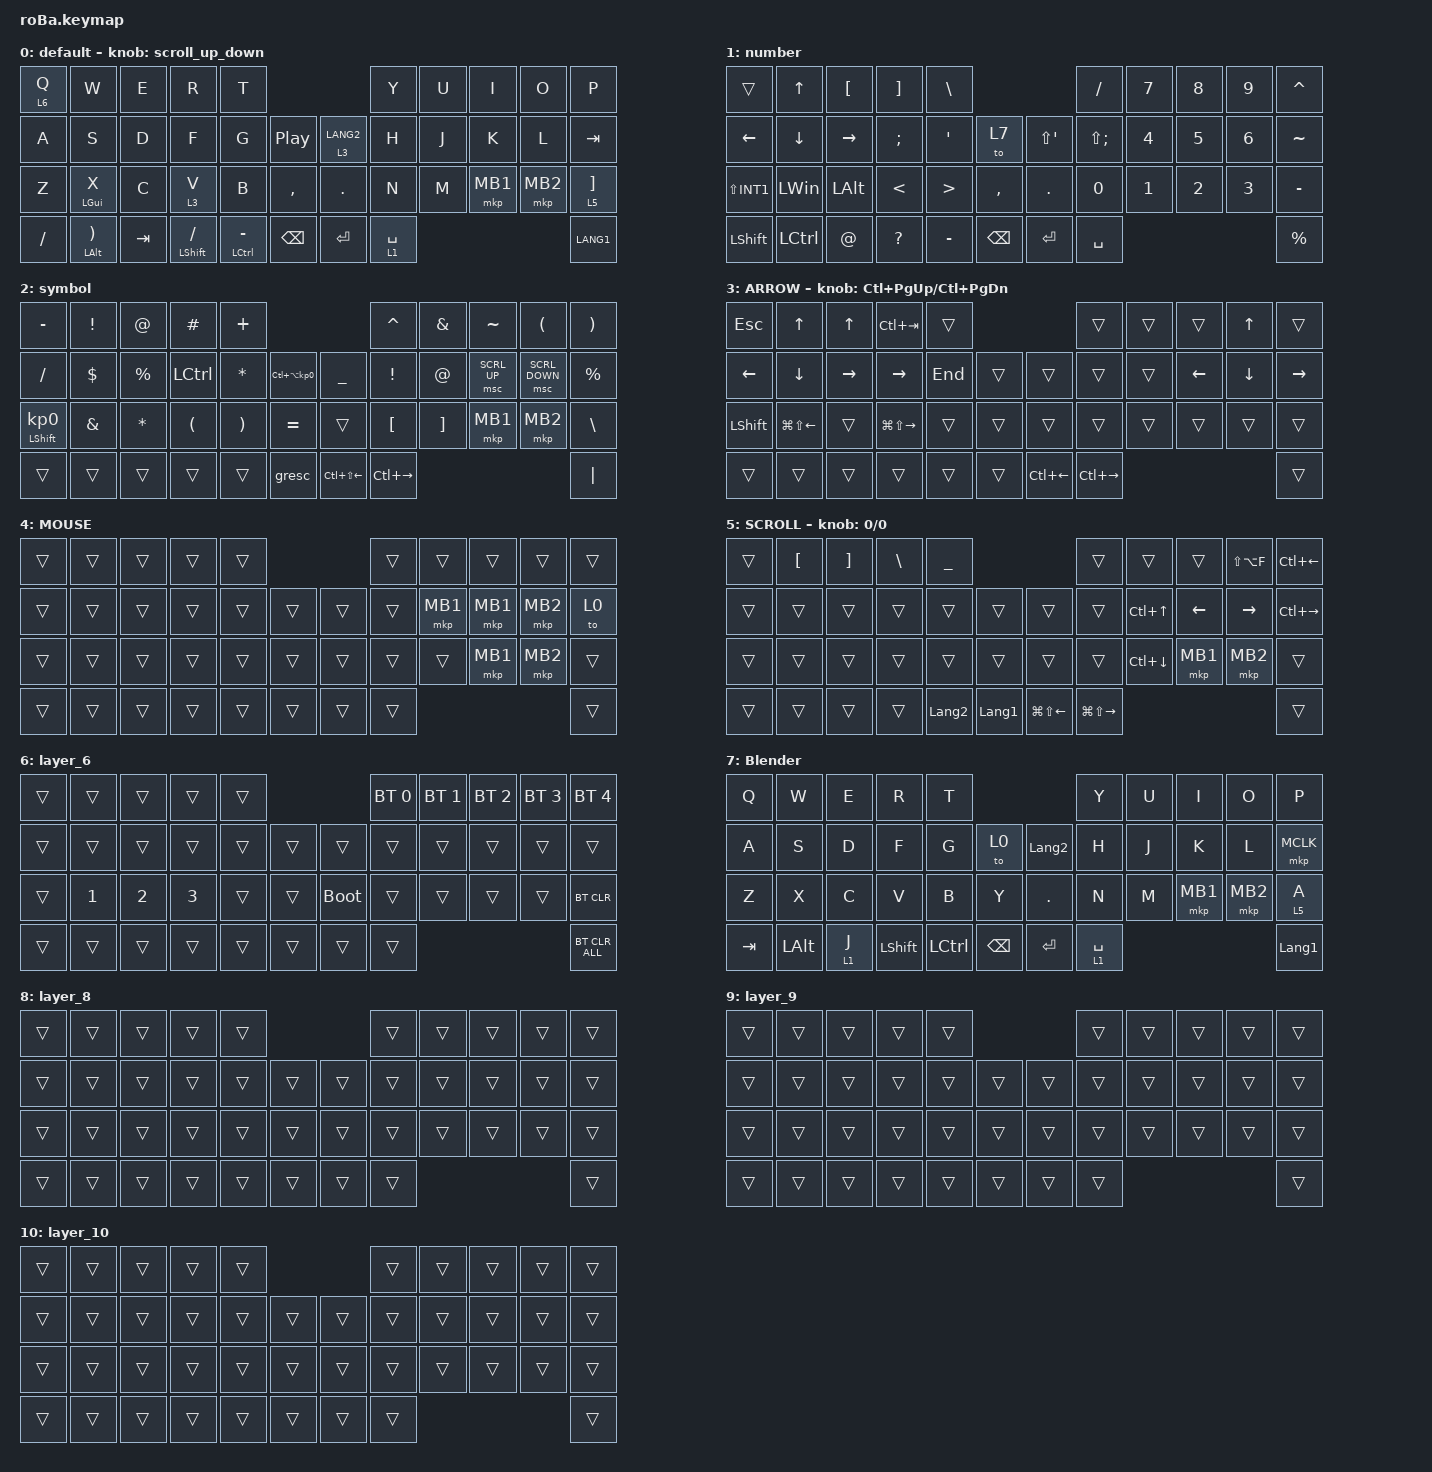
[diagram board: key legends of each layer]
#include <behaviors.dtsi>
#include <dt-bindings/zmk/bt.h>
#include <dt-bindings/zmk/keys.h>
#include <dt-bindings/zmk/pointing.h>

#undef ZMK_POINTING_DEFAULT_SCRL_VAL    // 追加
#define ZMK_POINTING_DEFAULT_SCRL_VAL 70

&mt {
    flavor = "balanced";
    quick-tap-ms = <0>;
};

&trackball {
    // automouse-layer = <4>;

    scroll-layers = <5>;

    arrows {
        layers = <3>;
        bindings =
            <&kp RIGHT_ARROW>,
            <&kp LEFT_ARROW>,
            <&kp UP_ARROW>,
            <&kp DOWN_ARROW>;

        tick = <10>;
        wait-ms = <5>;
        tap-ms = <5>;
    };
};

/ {
    combos {
        compatible = "zmk,combos";

        tab {
            bindings = <&kp TAB>;
            key-positions = <11 12>;
        };

        shift_tab {
            bindings = <&kp LS(TAB)>;
            key-positions = <12 13>;
        };

        muhennkann {
            bindings = <&to_layer_0 INT_MUHENKAN>;
            key-positions = <11 10>;
        };

        double_quotation {
            bindings = <&kp DOUBLE_QUOTES>;
            key-positions = <20 21>;
        };

        eq {
            bindings = <&kp EQUAL>;
            key-positions = <24 25>;
        };
    };

    macros {
        to_layer_0: to_layer_0 {
            compatible = "zmk,behavior-macro-one-param";
            #binding-cells = <1>;
            bindings = <&to 0 &macro_param_1to1 &kp MACRO_PLACEHOLDER>;
            label = "TO_LAYER_0";
        };
    };

    behaviors {
        lt_to_layer_0: lt_to_layer_0 {
            compatible = "zmk,behavior-hold-tap";
            label = "LAYER_TAP_TO_0";
            bindings = <&mo>, <&to_layer_0>;

            #binding-cells = <2>;
            tapping-term-ms = <200>;
        };

        scroll_up_down: behavior_sensor_rotate_mouse_wheel_up_down {
            compatible = "zmk,behavior-sensor-rotate";
            #sensor-binding-cells = <0>;
            bindings = <&msc SCRL_DOWN>, <&msc SCRL_UP>;

            // 追加: スクロールのタップ時間を設定 (20ms)

            tap-ms = <20>;
        };
    };

    keymap {
        compatible = "zmk,keymap";

        default {
            bindings = <
&lt_to_layer_0 6 Q  &kp W                           &kp E    &kp R                 &kp T                                                                 &kp Y                   &kp U  &kp I     &kp O     &kp P
&kp A               &kp S                           &kp D    &kp F                 &kp G                   &kp C_PLAY_PAUSE      &lt_to_layer_0 3 LANG2  &kp H                   &kp J  &kp K     &kp L     &kp TAB
&kp Z               &mt LGUI X                      &kp C    &lt_to_layer_0 3 V    &kp B                   &kp COMMA             &kp PERIOD              &kp N                   &kp M  &mkp MB1  &mkp MB2  &lt_to_layer_0 5 RIGHT_BRACKET
&kp SLASH           &mt LEFT_ALT RIGHT_PARENTHESIS  &kp TAB  &mt LEFT_SHIFT SLASH  &mt LEFT_CONTROL MINUS  &kp BSPC              &kp ENTER               &lt_to_layer_0 1 SPACE                             &kp LANG1
            >;

            sensor-bindings = <&scroll_up_down>;
        };

        number {
            bindings = <
&trans          &kp UP_ARROW    &kp LEFT_BRACKET  &kp RIGHT_BRACKET  &kp BACKSLASH                                              &kp SLASH          &kp N7  &kp N8  &kp N9  &kp CARET
&kp LEFT_ARROW  &kp DOWN_ARROW  &kp RIGHT_ARROW   &kp SEMICOLON      &kp SQT           &to 7              &kp LS(SINGLE_QUOTE)  &kp LS(SEMICOLON)  &kp N4  &kp N5  &kp N6  &kp TILDE
&kp LS(INT1)    &kp LEFT_WIN    &kp LEFT_ALT      &kp LESS_THAN      &kp GREATER_THAN  &kp COMMA          &kp PERIOD            &kp N0             &kp N1  &kp N2  &kp N3  &kp MINUS
&kp LEFT_SHIFT  &kp LCTRL       &kp AT_SIGN       &kp QUESTION       &kp MINUS         &kp BACKSPACE      &kp ENTER             &kp SPACE                                  &kp PERCENT
            >;
        };

        symbol {
            bindings = <
&kp MINUS                   &kp EXCLAMATION  &kp AT_SIGN   &kp HASH              &kp PLUS                                                                    &kp CARET            &kp AMPERSAND      &kp TILDE     &kp LEFT_PARENTHESIS  &kp RIGHT_PARENTHESIS
&kp SLASH                   &kp DOLLAR       &kp PERCENT   &kp LCTRL             &kp ASTERISK           &kp LC(LA(KP_NUMBER_0))      &kp UNDERSCORE          &kp EXCLAMATION      &kp AT_SIGN        &msc SCRL_UP  &msc SCRL_DOWN        &kp PERCENT
&mt LEFT_SHIFT KP_NUMBER_0  &kp AMPERSAND    &kp ASTERISK  &kp LEFT_PARENTHESIS  &kp RIGHT_PARENTHESIS  &kp EQUAL                    &trans                  &kp LEFT_BRACKET     &kp RIGHT_BRACKET  &mkp MB1      &mkp MB2              &kp BACKSLASH
&trans                      &trans           &trans        &trans                &trans                 &gresc                       &kp LC(LS(LEFT_ARROW))  &kp LC(RIGHT_ARROW)                                                         &kp PIPE
            >;
        };

        ARROW {
            bindings = <
&kp ESCAPE      &kp UP_ARROW            &kp UP_ARROW     &kp LC(TAB)              &trans                                   &trans               &trans  &trans          &kp UP_ARROW    &trans
&kp LEFT_ARROW  &kp DOWN_ARROW          &kp RIGHT_ARROW  &kp RIGHT_ARROW          &kp END  &trans      &trans              &trans               &trans  &kp LEFT_ARROW  &kp DOWN_ARROW  &kp RIGHT_ARROW
&kp LEFT_SHIFT  &kp LG(LS(LEFT_ARROW))  &trans           &kp LG(LS(RIGHT_ARROW))  &trans   &trans      &trans              &trans               &trans  &trans          &trans          &trans
&trans          &trans                  &trans           &trans                   &trans   &trans      &kp LC(LEFT_ARROW)  &kp LC(RIGHT_ARROW)                                          &trans
            >;

            sensor-bindings = <&inc_dec_kp LC(PAGE_UP) LC(PAGE_DOWN)>;
        };

        MOUSE {
            bindings = <
&trans  &trans  &trans  &trans  &trans                      &trans  &trans    &trans    &trans    &trans
&trans  &trans  &trans  &trans  &trans  &trans      &trans  &trans  &mkp MB1  &mkp MB1  &mkp MB2  &to 0
&trans  &trans  &trans  &trans  &trans  &trans      &trans  &trans  &trans    &mkp MB1  &mkp MB2  &trans
&trans  &trans  &trans  &trans  &trans  &trans      &trans  &trans                                &trans
            >;
        };

        SCROLL {
            bindings = <
&trans  &kp LEFT_BRACKET  &kp RIGHT_BRACKET  &kp BACKSLASH  &kp UNDERSCORE                                              &trans                   &trans            &trans          &kp LS(LA(F))    &kp LC(LEFT_ARROW)
&trans  &trans            &trans             &trans         &trans          &trans              &trans                  &trans                   &kp LC(UP_ARROW)  &kp LEFT_ARROW  &kp RIGHT_ARROW  &kp LC(RIGHT)
&trans  &trans            &trans             &trans         &trans          &trans              &trans                  &trans                   &kp LC(DOWN)      &mkp MB1        &mkp MB2         &trans
&trans  &trans            &trans             &trans         &kp LANGUAGE_2  &kp LANGUAGE_1      &kp LG(LS(LEFT_ARROW))  &kp LG(LS(RIGHT_ARROW))                                                     &trans
            >;

            sensor-bindings = <&inc_dec_kp 0 0>;
        };

        layer_6 {
            bindings = <
&trans  &trans        &trans        &trans        &trans                           &bt BT_SEL 0  &bt BT_SEL 1  &bt BT_SEL 2  &bt BT_SEL 3  &bt BT_SEL 4
&trans  &trans        &trans        &trans        &trans  &trans      &trans       &trans        &trans        &trans        &trans        &trans
&trans  &kp NUMBER_1  &kp NUMBER_2  &kp NUMBER_3  &trans  &trans      &bootloader  &trans        &trans        &trans        &trans        &bt BT_CLR
&trans  &trans        &trans        &trans        &trans  &trans      &trans       &trans                                                  &bt BT_CLR_ALL
            >;
        };

        Blender {
            bindings = <
&kp Q    &kp W         &kp E               &kp R           &kp T                                                &kp Y                   &kp U  &kp I     &kp O     &kp P
&kp A    &kp S         &kp D               &kp F           &kp G             &to 0              &kp LANGUAGE_2  &kp H                   &kp J  &kp K     &kp L     &mkp MCLK
&kp Z    &kp X         &kp C               &kp V           &kp B             &kp Y              &kp DOT         &kp N                   &kp M  &mkp MB1  &mkp MB2  &lt_to_layer_0 5 A
&kp TAB  &kp LEFT_ALT  &lt_to_layer_0 1 J  &kp LEFT_SHIFT  &kp LEFT_CONTROL  &kp BACKSPACE      &kp ENTER       &lt_to_layer_0 1 SPACE                             &kp LANGUAGE_1
            >;
        };

        layer_8 {
            bindings = <
&trans  &trans  &trans  &trans  &trans                      &trans  &trans  &trans  &trans  &trans
&trans  &trans  &trans  &trans  &trans  &trans      &trans  &trans  &trans  &trans  &trans  &trans
&trans  &trans  &trans  &trans  &trans  &trans      &trans  &trans  &trans  &trans  &trans  &trans
&trans  &trans  &trans  &trans  &trans  &trans      &trans  &trans                          &trans
            >;
        };

        layer_9 {
            bindings = <
&trans  &trans  &trans  &trans  &trans                      &trans  &trans  &trans  &trans  &trans
&trans  &trans  &trans  &trans  &trans  &trans      &trans  &trans  &trans  &trans  &trans  &trans
&trans  &trans  &trans  &trans  &trans  &trans      &trans  &trans  &trans  &trans  &trans  &trans
&trans  &trans  &trans  &trans  &trans  &trans      &trans  &trans                          &trans
            >;
        };

        layer_10 {
            bindings = <
&trans  &trans  &trans  &trans  &trans                      &trans  &trans  &trans  &trans  &trans
&trans  &trans  &trans  &trans  &trans  &trans      &trans  &trans  &trans  &trans  &trans  &trans
&trans  &trans  &trans  &trans  &trans  &trans      &trans  &trans  &trans  &trans  &trans  &trans
&trans  &trans  &trans  &trans  &trans  &trans      &trans  &trans                          &trans
            >;
        };
    };
};
